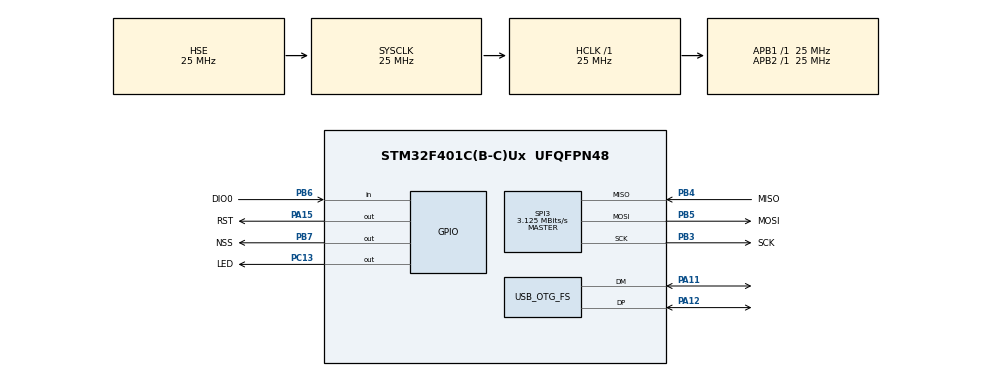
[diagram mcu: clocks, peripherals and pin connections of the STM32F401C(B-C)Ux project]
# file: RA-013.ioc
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Mcu.Family=STM32F4
Mcu.Name=STM32F401C(B-C)Ux
Mcu.Package=UFQFPN48
NVIC.OTG_FS_IRQn=true\:0\:0\:false\:false\:true\:false\:true\:true
NVIC.PriorityGroup=NVIC_PRIORITYGROUP_4
PA11.Mode=Device_Only
PA11.Signal=USB_OTG_FS_DM
PA12.Mode=Device_Only
PA12.Signal=USB_OTG_FS_DP
PA15.GPIO_Label=RST
PA15.Signal=GPIO_Output
PB3.GPIO_Label=SCK
PB3.Mode=Full_Duplex_Master
PB3.Signal=SPI3_SCK
PB4.GPIO_Label=MISO
PB4.Mode=Full_Duplex_Master
PB4.Signal=SPI3_MISO
PB5.GPIO_Label=MOSI
PB5.Mode=Full_Duplex_Master
PB5.Signal=SPI3_MOSI
PB6.GPIO_Label=DIO0
PB6.Signal=GPIO_Input
PB7.GPIO_Label=NSS
PB7.Signal=GPIO_Output
PC13-ANTI_TAMP.GPIO_Label=LED
PC13-ANTI_TAMP.Signal=GPIO_Output
PH0\ -\ OSC_IN.Mode=HSE-External-Oscillator
PH0\ -\ OSC_IN.Signal=RCC_OSC_IN
PH1\ -\ OSC_OUT.Mode=HSE-External-Oscillator
PH1\ -\ OSC_OUT.Signal=RCC_OSC_OUT
ProjectManager.HeapSize=0x200
ProjectManager.StackSize=0x400
ProjectManager.TargetToolchain=STM32CubeIDE
RCC.48MHZClocksFreq_Value=48000000
RCC.AHBFreq_Value=25000000
RCC.APB1Freq_Value=25000000
RCC.APB1TimFreq_Value=25000000
RCC.APB2Freq_Value=25000000
RCC.APB2TimFreq_Value=25000000
RCC.CortexFreq_Value=25000000
RCC.HCLKFreq_Value=25000000
RCC.HSE_VALUE=25000000
RCC.HSI_VALUE=16000000
RCC.LSE_VALUE=32768
RCC.PLLM=15
RCC.PLLN=144
RCC.PLLP=RCC_PLLP_DIV4
RCC.PLLQ=5
RCC.SYSCLKFreq_VALUE=25000000
RCC.SYSCLKSource=RCC_SYSCLKSOURCE_HSE
RCC.VCOOutputFreq_Value=240000000
SPI3.BaudRatePrescaler=SPI_BAUDRATEPRESCALER_8
SPI3.CalculateBaudRate=3.125 MBits/s
SPI3.Direction=SPI_DIRECTION_2LINES
SPI3.Mode=SPI_MODE_MASTER
SPI3.VirtualType=VM_MASTER
USB_DEVICE.CLASS_NAME_FS=CDC
USB_DEVICE.VirtualMode=Cdc
USB_DEVICE.VirtualModeFS=Cdc_FS
USB_OTG_FS.VirtualMode=Device_Only
VP_USB_DEVICE_VS_USB_DEVICE_CDC_FS.Mode=CDC_FS
board=custom

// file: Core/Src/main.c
/* USER CODE BEGIN Header */
/**
  ******************************************************************************
  * @file           : main.c
  * @brief          : Main program body
  ******************************************************************************
  * @attention
  *
  * Copyright (c) 2023 STMicroelectronics.
  * All rights reserved.
  *
  * This software is licensed under terms that can be found in the LICENSE file
  * in the root directory of this software component.
  * If no LICENSE file comes with this software, it is provided AS-IS.
  *
  ******************************************************************************
  */
/* USER CODE END Header */
#include "main.h"
#include "usb_device.h"

/* USER CODE BEGIN Includes */
#include "usbd_cdc_if.h"
#include "stdio.h"
#include "string.h"
#include "SX1278.h"
#include "SX1278_hw.h"

/* USER CODE END Includes */

SPI_HandleTypeDef hspi3;

/* USER CODE BEGIN PV */
uint8_t Tx[512];
uint8_t Rx[128];
uint8_t a=0,b=0,d=0;
uint8_t len;

int master;
int ret;

char buffer[512];

int message,change=0;
int message_length;

/* USER CODE END PV */

void SystemClock_Config(void);
static void MX_GPIO_Init(void);
static void MX_SPI3_Init(void);

int main(void)
{

  /* MCU Configuration--------------------------------------------------------*/

  /* Reset of all peripherals, Initializes the Flash interface and the Systick. */
  HAL_Init();

  /* Configure the system clock */
  SystemClock_Config();

  /* Initialize all configured peripherals */
  MX_GPIO_Init();
  MX_USB_DEVICE_Init();
  MX_SPI3_Init();
  /* USER CODE BEGIN 2 */
  //define necessary structures
  SX1278_hw_t SX1278_hw;
  SX1278_t SX1278;

  	//initialize LoRa module
  	SX1278_hw.dio0.port = DIO0_GPIO_Port;
  	SX1278_hw.dio0.pin = DIO0_Pin;
  	SX1278_hw.nss.port = NSS_GPIO_Port;
  	SX1278_hw.nss.pin = NSS_Pin;
  	SX1278_hw.reset.port = RST_GPIO_Port;
  	SX1278_hw.reset.pin = RST_Pin;
  	SX1278_hw.spi = &hspi3;

  	SX1278.hw = &SX1278_hw;

  	master=1;

  	SX1278_init(&SX1278, 434000000, SX1278_POWER_17DBM, SX1278_LORA_SF_7,SX1278_LORA_BW_250KHZ, SX1278_LORA_CR_4_5, SX1278_LORA_CRC_EN, 10);
	if (master == 1) {
  		ret = SX1278_LoRaEntryTx(&SX1278, 16, 2000);
  		HAL_GPIO_WritePin(LED_GPIO_Port, LED_Pin, GPIO_PIN_SET);
  	}
  	else {
  		ret = SX1278_LoRaEntryRx(&SX1278, 16, 2000);
  		HAL_GPIO_WritePin(LED_GPIO_Port, LED_Pin, GPIO_PIN_RESET);
  	}

  /* USER CODE END 2 */

  /* Infinite loop */
  /* USER CODE BEGIN WHILE */
  while (1)
  {
		if (master == 1) {
			HAL_GPIO_WritePin(LED_GPIO_Port, LED_Pin, GPIO_PIN_SET);
		if(b==1){
			b=0;
			if(strcmp((char*)Tx,"stop")==0){
				b=1;
				change=1;
			}
			else{
			change=1;
			}
			SX1278_LoRaEntryTx(&SX1278, len, 2000);
								    SX1278_LoRaTxPacket(&SX1278, Tx, len, 2000);
			}
		}
		else {
			HAL_GPIO_WritePin(LED_GPIO_Port, LED_Pin, GPIO_PIN_RESET);
			ret = SX1278_LoRaRxPacket(&SX1278);
			if (ret > 0) {
				SX1278_read(&SX1278, (uint8_t*) buffer, ret);
				CDC_Transmit_FS((uint8_t*) buffer, ret);
				change=1;
			}
		}

		//change mode
		if (change==1) {
			change=0;
		master = ~master & 0x01;
			if (master == 1) {
				ret = SX1278_LoRaEntryTx(&SX1278, 16, 2000);
			HAL_GPIO_WritePin(LED_GPIO_Port, LED_Pin, GPIO_PIN_SET);
			}
			else {
			ret = SX1278_LoRaEntryRx(&SX1278, 16, 2000);
				HAL_GPIO_WritePin(LED_GPIO_Port, LED_Pin, GPIO_PIN_RESET);
		}
		}

    /* USER CODE END WHILE */

  }
}

void SystemClock_Config(void)
{
  RCC_OscInitTypeDef RCC_OscInitStruct = {0};
  RCC_ClkInitTypeDef RCC_ClkInitStruct = {0};

  /** Configure the main internal regulator output voltage
  */
  __HAL_RCC_PWR_CLK_ENABLE();
  __HAL_PWR_VOLTAGESCALING_CONFIG(PWR_REGULATOR_VOLTAGE_SCALE2);

  /** Initializes the RCC Oscillators according to the specified parameters
  * in the RCC_OscInitTypeDef structure.
  */
  RCC_OscInitStruct.OscillatorType = RCC_OSCILLATORTYPE_HSE;
  RCC_OscInitStruct.HSEState = RCC_HSE_ON;
  RCC_OscInitStruct.PLL.PLLState = RCC_PLL_ON;
  RCC_OscInitStruct.PLL.PLLSource = RCC_PLLSOURCE_HSE;
  RCC_OscInitStruct.PLL.PLLM = 15;
  RCC_OscInitStruct.PLL.PLLN = 144;
  RCC_OscInitStruct.PLL.PLLP = RCC_PLLP_DIV4;
  RCC_OscInitStruct.PLL.PLLQ = 5;
  if (HAL_RCC_OscConfig(&RCC_OscInitStruct) != HAL_OK)
  {
    Error_Handler();
  }

  /** Initializes the CPU, AHB and APB buses clocks
  */
  RCC_ClkInitStruct.ClockType = RCC_CLOCKTYPE_HCLK|RCC_CLOCKTYPE_SYSCLK
                              |RCC_CLOCKTYPE_PCLK1|RCC_CLOCKTYPE_PCLK2;
  RCC_ClkInitStruct.SYSCLKSource = RCC_SYSCLKSOURCE_HSE;
  RCC_ClkInitStruct.AHBCLKDivider = RCC_SYSCLK_DIV1;
  RCC_ClkInitStruct.APB1CLKDivider = RCC_HCLK_DIV1;
  RCC_ClkInitStruct.APB2CLKDivider = RCC_HCLK_DIV1;

  if (HAL_RCC_ClockConfig(&RCC_ClkInitStruct, FLASH_LATENCY_0) != HAL_OK)
  {
    Error_Handler();
  }
}

static void MX_SPI3_Init(void)
{

  /* SPI3 parameter configuration*/
  hspi3.Instance = SPI3;
  hspi3.Init.Mode = SPI_MODE_MASTER;
  hspi3.Init.Direction = SPI_DIRECTION_2LINES;
  hspi3.Init.DataSize = SPI_DATASIZE_8BIT;
  hspi3.Init.CLKPolarity = SPI_POLARITY_LOW;
  hspi3.Init.CLKPhase = SPI_PHASE_1EDGE;
  hspi3.Init.NSS = SPI_NSS_SOFT;
  hspi3.Init.BaudRatePrescaler = SPI_BAUDRATEPRESCALER_8;
  hspi3.Init.FirstBit = SPI_FIRSTBIT_MSB;
  hspi3.Init.TIMode = SPI_TIMODE_DISABLE;
  hspi3.Init.CRCCalculation = SPI_CRCCALCULATION_DISABLE;
  hspi3.Init.CRCPolynomial = 10;
  if (HAL_SPI_Init(&hspi3) != HAL_OK)
  {
    Error_Handler();
  }

}

static void MX_GPIO_Init(void)
{
  GPIO_InitTypeDef GPIO_InitStruct = {0};

  /* GPIO Ports Clock Enable */
  __HAL_RCC_GPIOC_CLK_ENABLE();
  __HAL_RCC_GPIOH_CLK_ENABLE();
  __HAL_RCC_GPIOA_CLK_ENABLE();
  __HAL_RCC_GPIOB_CLK_ENABLE();

  /*Configure GPIO pin Output Level */
  HAL_GPIO_WritePin(LED_GPIO_Port, LED_Pin, GPIO_PIN_RESET);

  /*Configure GPIO pin Output Level */
  HAL_GPIO_WritePin(RST_GPIO_Port, RST_Pin, GPIO_PIN_RESET);

  /*Configure GPIO pin Output Level */
  HAL_GPIO_WritePin(NSS_GPIO_Port, NSS_Pin, GPIO_PIN_RESET);

  /*Configure GPIO pin : LED_Pin */
  GPIO_InitStruct.Pin = LED_Pin;
  GPIO_InitStruct.Mode = GPIO_MODE_OUTPUT_PP;
  GPIO_InitStruct.Pull = GPIO_NOPULL;
  GPIO_InitStruct.Speed = GPIO_SPEED_FREQ_LOW;
  HAL_GPIO_Init(LED_GPIO_Port, &GPIO_InitStruct);

  /*Configure GPIO pin : RST_Pin */
  GPIO_InitStruct.Pin = RST_Pin;
  GPIO_InitStruct.Mode = GPIO_MODE_OUTPUT_PP;
  GPIO_InitStruct.Pull = GPIO_NOPULL;
  GPIO_InitStruct.Speed = GPIO_SPEED_FREQ_LOW;
  HAL_GPIO_Init(RST_GPIO_Port, &GPIO_InitStruct);

  /*Configure GPIO pin : DIO0_Pin */
  GPIO_InitStruct.Pin = DIO0_Pin;
  GPIO_InitStruct.Mode = GPIO_MODE_INPUT;
  GPIO_InitStruct.Pull = GPIO_NOPULL;
  HAL_GPIO_Init(DIO0_GPIO_Port, &GPIO_InitStruct);

  /*Configure GPIO pin : NSS_Pin */
  GPIO_InitStruct.Pin = NSS_Pin;
  GPIO_InitStruct.Mode = GPIO_MODE_OUTPUT_PP;
  GPIO_InitStruct.Pull = GPIO_NOPULL;
  GPIO_InitStruct.Speed = GPIO_SPEED_FREQ_LOW;
  HAL_GPIO_Init(NSS_GPIO_Port, &GPIO_InitStruct);

}

void Error_Handler(void)
{
  __disable_irq();
  while (1)
  {
  }
}
